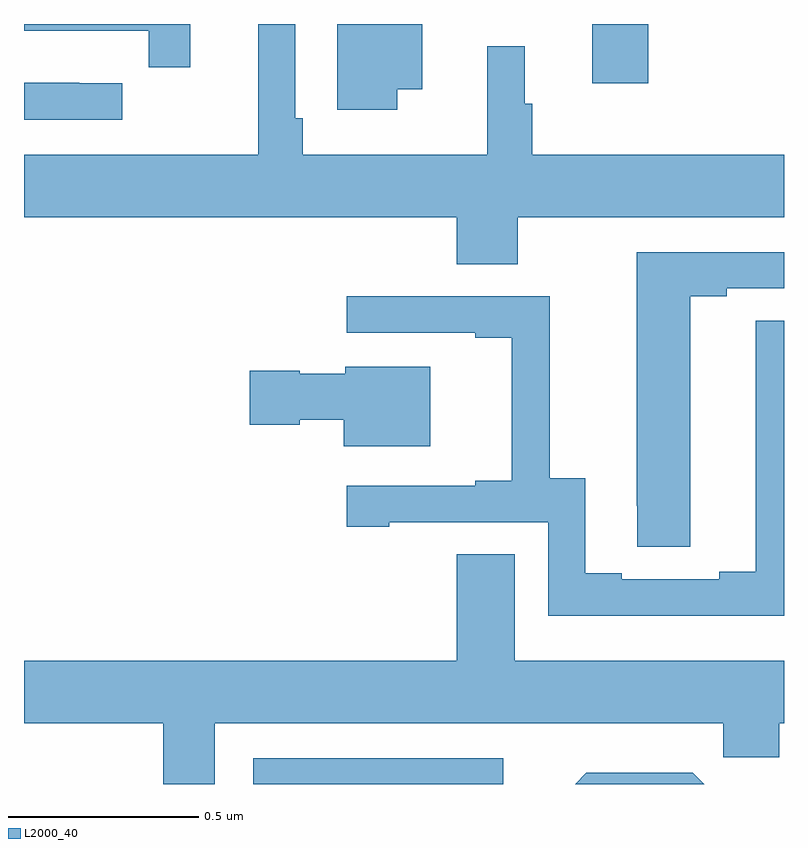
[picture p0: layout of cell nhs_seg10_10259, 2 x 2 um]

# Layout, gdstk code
import gdstk
lib = gdstk.Library(unit=1e-6, precision=1e-09)
def R(c, l, rs):  # rectangles x0, y0, x1, y1
    for r in rs: c.add(gdstk.rectangle(r[:2], r[2:], *l))
def P(c, l, *ps):  # polygons
    for p in ps: c.add(gdstk.Polygon(p, *l))
L2000_40 = (2000, 40)

nhs_seg10_10259 = lib.new_cell('nhs_seg10_10259')
R(nhs_seg10_10259, L2000_40, [(240.603,1289.5,241.261,1289.568), (241.496,1291.344,241.643,1291.5)])
P(nhs_seg10_10259, L2000_40, [(240.437,1291.5),(240,1291.5),(240,1291.482),(240.328,1291.482),(240.328,1291.386),(240.437,1291.386)],
  [(241.299,1290.992),(242,1290.992),(242,1291.156),(241.337,1291.156),(241.337,1291.29),(241.318,1291.29),(241.318,1291.441),(241.219,1291.441),(241.219,1291.156),(240.734,1291.156),(240.734,1291.252),(240.714,1291.252),(240.714,1291.5),(240.617,1291.5),(240.617,1291.156),(240,1291.156),(240,1290.992),(241.139,1290.992),(241.139,1290.868),(241.299,1290.868)],
  [(240.982,1291.328),(241.048,1291.328),(241.048,1291.5),(240.824,1291.5),(240.824,1291.275),(240.982,1291.275)],
  [(240.259,1291.344),(240.146,1291.344),(240.146,1291.345),(240,1291.345),(240,1291.248),(240.259,1291.248)],
  [(241.753,1290.784),(241.849,1290.784),(241.849,1290.804),(242,1290.804),(242,1290.9),(241.613,1290.9),(241.613,1290.232),(241.614,1290.232),(241.614,1290.124),(241.753,1290.124)],
  [(242,1290.719),(241.925,1290.719),(241.925,1290.059),(241.829,1290.059),(241.829,1290.039),(241.573,1290.039),(241.573,1290.054),(241.477,1290.054),(241.477,1290.305),(241.383,1290.305),(241.383,1290.783),(240.849,1290.783),(240.849,1290.687),(241.187,1290.687),(241.187,1290.675),(241.283,1290.675),(241.283,1290.298),(241.187,1290.298),(241.187,1290.285),(240.849,1290.285),(240.849,1290.177),(240.961,1290.177),(240.961,1290.189),(241.38,1290.189),(241.38,1289.943),(242,1289.943)],
  [(241.069,1290.598),(240.846,1290.598),(240.846,1290.58),(240.726,1290.58),(240.726,1290.588),(240.594,1290.588),(240.594,1290.446),(240.726,1290.446),(240.726,1290.458),(240.842,1290.458),(240.842,1290.389),(241.069,1290.389)],
  [(240.502,1289.66),(241.84,1289.66),(241.84,1289.57),(241.987,1289.57),(241.987,1289.66),(242,1289.66),(242,1289.824),(241.291,1289.824),(241.291,1290.104),(241.139,1290.104),(241.139,1289.824),(240,1289.824),(240,1289.66),(240.367,1289.66),(240.367,1289.5),(240.502,1289.5)],
  [(241.76,1289.53),(241.48,1289.53),(241.45,1289.5),(241.79,1289.5)])

lib.write_gds('nhs_seg10_10259.gds')
